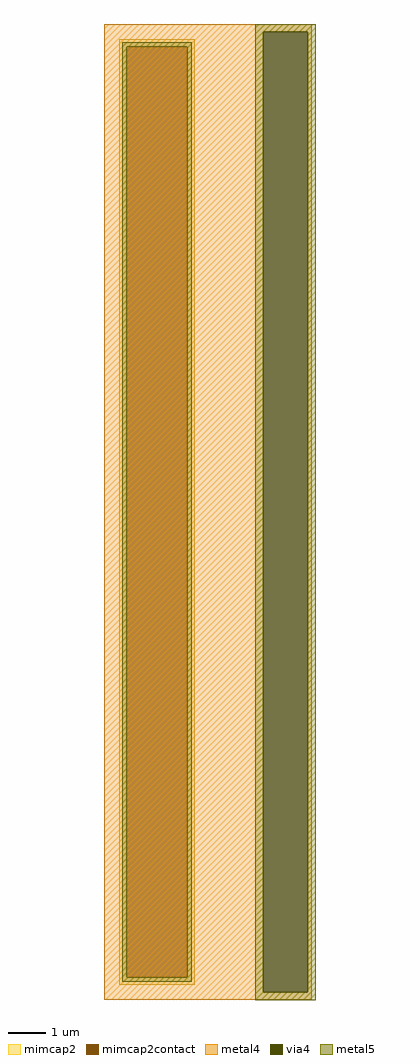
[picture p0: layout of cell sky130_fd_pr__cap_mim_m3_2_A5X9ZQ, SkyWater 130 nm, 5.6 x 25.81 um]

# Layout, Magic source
magic
tech sky130A
magscale 1 2
<< metal4 >>
rect -549 2539 549 2580
rect -549 -2539 293 2539
rect 529 -2539 549 2539
rect -549 -2580 549 -2539
<< via4 >>
rect 293 -2539 529 2539
<< mimcap2 >>
rect -469 2460 -69 2500
rect -469 -2460 -429 2460
rect -109 -2460 -69 2460
rect -469 -2500 -69 -2460
<< mimcap2contact >>
rect -429 -2460 -109 2460
<< metal5 >>
rect 251 2539 571 2581
rect -453 2460 -85 2484
rect -453 -2460 -429 2460
rect -109 -2460 -85 2460
rect -453 -2484 -85 -2460
rect 251 -2539 293 2539
rect 529 -2539 571 2539
rect 251 -2581 571 -2539
<< properties >>
string FIXED_BBOX -549 -2580 11 2580
string gencell sky130_fd_pr__cap_mim_m3_2
string library sky130
string parameters w 2.00 l 25 val 110.26 carea 2.00 cperi 0.19 class capacitor nx 1 ny 1 dummy 0 square 0 lmin 2.00 wmin 2.00 lmax 30.0 wmax 30.0 dc 0 bconnect 1 tconnect 1 ccov 100
<< end >>
